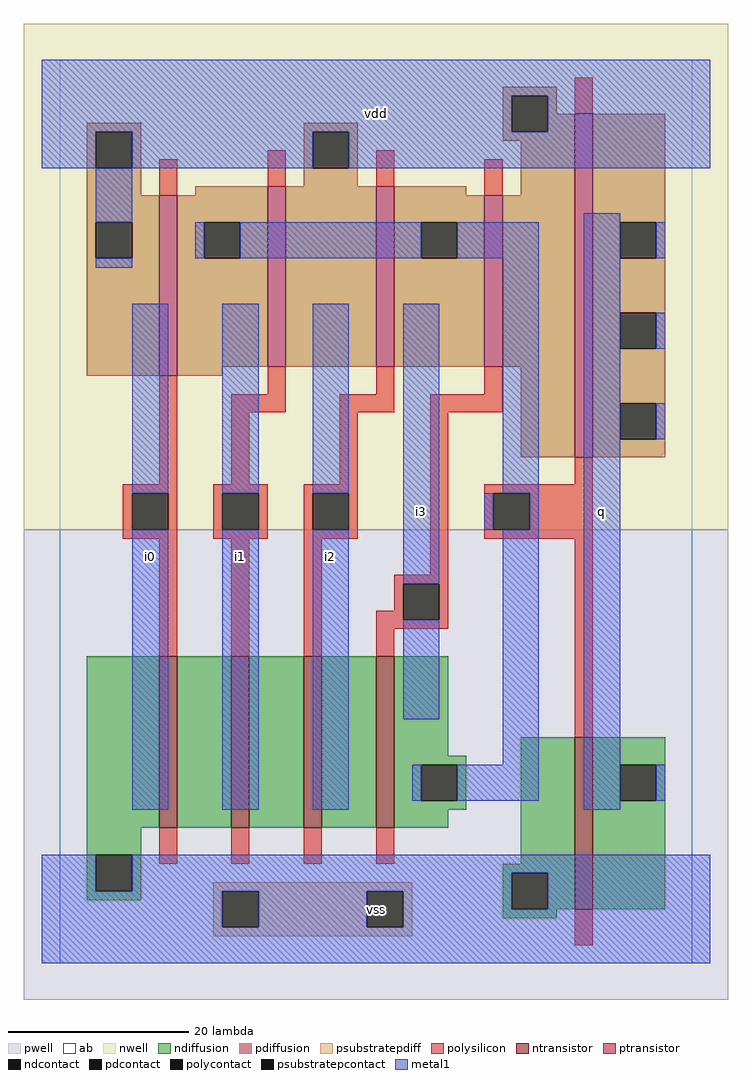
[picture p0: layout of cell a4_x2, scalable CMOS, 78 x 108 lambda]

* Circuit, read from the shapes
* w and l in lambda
.subckt a4_x2 i0 i1 i2 i3 q vdd vss
M1 n1 i0 vss vss nfet w=19 l=2
M2 n2 i1 n1 vss nfet w=19 l=2
M3 n3 i2 n2 vss nfet w=19 l=2
M4 n4 i3 n3 vss nfet w=19 l=2
M5 q n4 vss vss nfet w=19 l=2
M6 n4 i0 vdd n5 pfet w=20 l=2
M7 vdd i1 n4 n5 pfet w=20 l=2
M8 n4 i2 vdd n5 pfet w=20 l=2
M9 vdd i3 n4 n5 pfet w=19 l=2
M10 q n4 vdd n5 pfet w=38 l=2
.ends

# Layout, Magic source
magic
tech scmos
<< ab >>
rect 0 0 70 100
<< pwell >>
rect -4 -4 74 48
<< nwell >>
rect -4 48 74 104
<< polysilicon >>
rect 11 85 13 89
rect 23 86 25 90
rect 57 94 59 98
rect 35 86 37 90
rect 47 85 49 89
rect 11 53 13 65
rect 23 63 25 66
rect 35 63 37 66
rect 47 63 49 66
rect 19 61 25 63
rect 31 61 37 63
rect 41 61 49 63
rect 19 53 21 61
rect 31 53 33 61
rect 7 52 13 53
rect 7 48 8 52
rect 12 48 13 52
rect 7 47 13 48
rect 17 52 23 53
rect 17 48 18 52
rect 22 48 23 52
rect 17 47 23 48
rect 27 52 33 53
rect 27 48 28 52
rect 32 48 33 52
rect 27 47 33 48
rect 11 34 13 47
rect 19 34 21 47
rect 27 34 29 47
rect 41 43 43 61
rect 57 53 59 56
rect 47 52 59 53
rect 47 48 48 52
rect 52 48 59 52
rect 47 47 59 48
rect 37 42 43 43
rect 37 39 38 42
rect 35 38 38 39
rect 42 38 43 42
rect 35 37 43 38
rect 35 34 37 37
rect 57 25 59 47
rect 11 11 13 15
rect 19 11 21 15
rect 27 11 29 15
rect 35 11 37 15
rect 57 2 59 6
<< ndiffusion >>
rect 3 15 11 34
rect 13 15 19 34
rect 21 15 27 34
rect 29 15 35 34
rect 37 23 43 34
rect 37 22 45 23
rect 37 18 40 22
rect 44 18 45 22
rect 37 17 45 18
rect 37 15 43 17
rect 3 12 9 15
rect 3 8 4 12
rect 8 8 9 12
rect 51 11 57 25
rect 49 10 57 11
rect 3 7 9 8
rect 49 6 50 10
rect 54 6 57 10
rect 59 22 67 25
rect 59 18 62 22
rect 66 18 67 22
rect 59 6 67 18
rect 49 5 55 6
<< pdiffusion >>
rect 49 96 55 97
rect 3 92 9 93
rect 3 88 4 92
rect 8 88 9 92
rect 27 92 33 93
rect 3 85 9 88
rect 27 88 28 92
rect 32 88 33 92
rect 49 92 50 96
rect 54 94 55 96
rect 54 92 57 94
rect 49 91 57 92
rect 27 86 33 88
rect 15 85 23 86
rect 3 82 11 85
rect 3 78 4 82
rect 8 78 11 82
rect 3 65 11 78
rect 13 82 23 85
rect 13 78 16 82
rect 20 78 23 82
rect 13 66 23 78
rect 25 66 35 86
rect 37 85 45 86
rect 51 85 57 91
rect 37 82 47 85
rect 37 78 40 82
rect 44 78 47 82
rect 37 66 47 78
rect 49 66 57 85
rect 13 65 18 66
rect 51 56 57 66
rect 59 82 67 94
rect 59 78 62 82
rect 66 78 67 82
rect 59 72 67 78
rect 59 68 62 72
rect 66 68 67 72
rect 59 62 67 68
rect 59 58 62 62
rect 66 58 67 62
rect 59 56 67 58
<< metal1 >>
rect -2 96 72 100
rect -2 92 50 96
rect 54 92 72 96
rect -2 88 4 92
rect 8 88 28 92
rect 32 88 72 92
rect 4 82 8 88
rect 15 78 16 82
rect 20 78 40 82
rect 44 78 53 82
rect 4 77 8 78
rect 8 52 12 73
rect 8 17 12 48
rect 18 52 22 73
rect 18 17 22 48
rect 28 52 32 73
rect 28 17 32 48
rect 38 42 42 73
rect 49 52 53 78
rect 47 48 48 52
rect 52 48 53 52
rect 38 27 42 38
rect 49 22 53 48
rect 39 18 40 22
rect 44 18 53 22
rect 58 17 62 83
rect 66 78 67 82
rect 66 68 67 72
rect 66 58 67 62
rect 66 18 67 22
rect -2 8 4 12
rect 8 10 72 12
rect 8 8 50 10
rect -2 4 18 8
rect 22 4 34 8
rect 38 6 50 8
rect 54 6 72 10
rect 38 4 72 6
rect -2 0 72 4
<< ntransistor >>
rect 11 15 13 34
rect 19 15 21 34
rect 27 15 29 34
rect 35 15 37 34
rect 57 6 59 25
<< ptransistor >>
rect 11 65 13 85
rect 23 66 25 86
rect 35 66 37 86
rect 47 66 49 85
rect 57 56 59 94
<< polycontact >>
rect 8 48 12 52
rect 18 48 22 52
rect 28 48 32 52
rect 48 48 52 52
rect 38 38 42 42
<< ndcontact >>
rect 40 18 44 22
rect 4 8 8 12
rect 50 6 54 10
rect 62 18 66 22
<< pdcontact >>
rect 4 88 8 92
rect 28 88 32 92
rect 50 92 54 96
rect 4 78 8 82
rect 16 78 20 82
rect 40 78 44 82
rect 62 78 66 82
rect 62 68 66 72
rect 62 58 66 62
<< psubstratepcontact >>
rect 18 4 22 8
rect 34 4 38 8
<< psubstratepdiff >>
rect 17 8 39 9
rect 17 4 18 8
rect 22 4 34 8
rect 38 4 39 8
rect 17 3 39 4
<< labels >>
rlabel metal1 10 45 10 45 6 i0
rlabel metal1 20 45 20 45 6 i1
rlabel metal1 30 45 30 45 6 i2
rlabel psubstratepcontact 35 6 35 6 6 vss
rlabel metal1 40 50 40 50 6 i3
rlabel metal1 35 94 35 94 6 vdd
rlabel metal1 60 50 60 50 6 q
<< end >>
